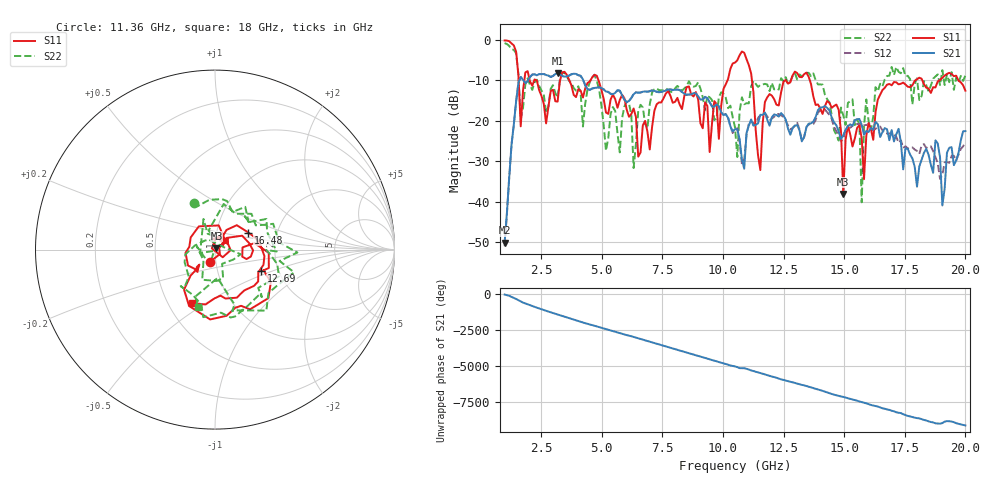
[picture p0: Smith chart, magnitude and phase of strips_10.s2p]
!Agilent Technologies,N5230A,MY45001629,A.07.50.67
!Agilent N5230A: A.07.50.67
!Date: Monday, June 05, 2017 16:29:52
!Correction: S11(Full 2 Port(1,2))
!S21(Full 2 Port(1,2))
!S12(Full 2 Port(1,2))
!S22(Full 2 Port(1,2))
!S2P File: Measurements: S11, S21, S12, S22:
# Hz S  dB  R 50
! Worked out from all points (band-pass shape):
!   201 points, 1 GHz to 20 GHz, reference 50 ohm
!   highest |S21| = -8.30 dB at 3.185 GHz (marker M1); lowest = -50.1 dB at 1 GHz (marker M2)
!   |S21| within 3 dB of the highest: 1.556 GHz to 4.325 GHz (2.768 GHz wide, 94.1 % of centre)
!   lowest |S11| = -38.1 dB at 14.96 GHz (marker M3), VSWR 1.03, Z = 50.8 + j0.935 ohm
!   |S11| at or under -10 dB: 4.868 GHz to 10.2 GHz (5.328 GHz wide, 70.7 % of centre); 11.2 GHz to 12.59 GHz (1.388 GHz wide, 11.7 % of centre); 13.58 GHz to 17.95 GHz (4.372 GHz wide, 27.7 % of centre)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
!   |S22| runs from -40.2 to -0.9 dB; largest |S21 - S12| = 0.04
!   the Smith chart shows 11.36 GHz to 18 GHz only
!   S11 on the Smith chart (normalised r, x): 11.36 GHz: 0.93, -0.13; 12.69 GHz: 1.63, -0.43; 16.48 GHz: 1.42, +0.28; 18 GHz: 0.66, -0.44
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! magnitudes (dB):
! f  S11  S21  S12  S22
! 1 GHz  -0.2  -50.1  -51.0  -0.9
! 1.57 GHz  -8.9  -10.7  -10.7  -8.6
! 3.185 GHz  -15.3  -8.3  -8.3  -14.4
! 4.23 GHz  -14.3  -9.8  -9.9  -21.5
! 4.705 GHz  -8.7  -11.9  -12.0  -8.7
! 6.13 GHz  -19.1  -15.2  -15.1  -15.8
! 6.32 GHz  -17.0  -13.5  -13.4  -31.7
! 7.365 GHz  -15.5  -13.0  -13.0  -12.5
! 9.455 GHz  -27.8  -15.4  -15.5  -14.3
! 10.5 GHz  -5.7  -22.1  -22.3  -21.6
! 11.36 GHz  -22.5  -21.1  -20.9  -10.9
! 12.69 GHz  -10.9  -22.0  -21.2  -10.9
! 13.73 GHz  -14.0  -20.2  -20.9  -8.4
! 14.78 GHz  -17.3  -22.7  -23.4  -24.9
! 14.96 GHz  -38.1  -23.6  -24.7  -18.7
! 15.63 GHz  -21.2  -19.6  -20.8  -20.9
! 15.72 GHz  -24.4  -21.0  -21.7  -40.2
! 15.91 GHz  -23.7  -22.5  -21.1  -14.8
! 16.48 GHz  -13.6  -24.1  -21.5  -10.9
! 16.86 GHz  -11.0  -24.9  -23.3  -8.9
! 18 GHz  -9.8  -36.3  -27.5  -9.6
! 20 GHz  -12.6  -22.6  -25.4  -8.9
